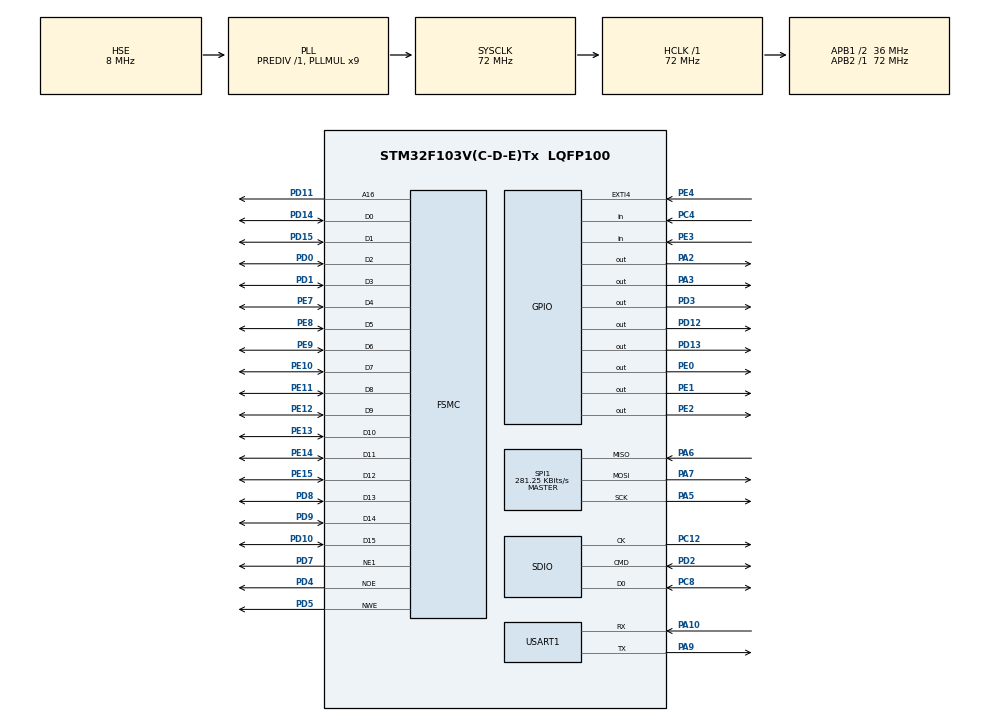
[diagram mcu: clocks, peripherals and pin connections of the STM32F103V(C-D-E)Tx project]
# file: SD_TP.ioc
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FATFS._USE_FIND=1
FATFS._USE_FORWARD=1
Mcu.Family=STM32F1
Mcu.Name=STM32F103V(C-D-E)Tx
Mcu.Package=LQFP100
NVIC.EXTI4_IRQn=true\:0\:0\:false\:false\:true\:true\:true\:true
NVIC.PriorityGroup=NVIC_PRIORITYGROUP_4
OSC_IN.Mode=HSE-External-Oscillator
OSC_IN.Signal=RCC_OSC_IN
OSC_OUT.Mode=HSE-External-Oscillator
OSC_OUT.Signal=RCC_OSC_OUT
PA10.Mode=Asynchronous
PA10.Signal=USART1_RX
PA13.Mode=Serial_Wire
PA13.Signal=SYS_JTMS-SWDIO
PA14.Mode=Serial_Wire
PA14.Signal=SYS_JTCK-SWCLK
PA2.GPIO_Speed=GPIO_SPEED_FREQ_HIGH
PA2.PinState=GPIO_PIN_SET
PA2.Signal=GPIO_Output
PA3.GPIO_Speed=GPIO_SPEED_FREQ_HIGH
PA3.PinState=GPIO_PIN_SET
PA3.Signal=GPIO_Output
PA5.Mode=Full_Duplex_Master
PA5.Signal=SPI1_SCK
PA6.Mode=Full_Duplex_Master
PA6.Signal=SPI1_MISO
PA7.Mode=Full_Duplex_Master
PA7.Signal=SPI1_MOSI
PA9.Mode=Asynchronous
PA9.Signal=USART1_TX
PC12.Mode=SD_1_bit
PC12.Signal=SDIO_CK
PC14-OSC32_IN.Mode=LSE-External-Oscillator
PC14-OSC32_IN.Signal=RCC_OSC32_IN
PC15-OSC32_OUT.Mode=LSE-External-Oscillator
PC15-OSC32_OUT.Signal=RCC_OSC32_OUT
PC4.Signal=GPIO_Input
PC8.Mode=SD_1_bit
PC8.Signal=SDIO_D0
PD0.Mode=16b-d1
PD0.Signal=FSMC_D2
PD1.Mode=16b-d1
PD1.Signal=FSMC_D3
PD10.Mode=16b-d1
PD10.Signal=FSMC_D15
PD11.Mode=A16_1
PD11.Signal=FSMC_A16
PD12.GPIO_Speed=GPIO_SPEED_FREQ_HIGH
PD12.Signal=GPIO_Output
PD13.GPIO_Speed=GPIO_SPEED_FREQ_HIGH
PD13.Signal=GPIO_Output
PD14.Mode=16b-d1
PD14.Signal=FSMC_D0
PD15.Mode=16b-d1
PD15.Signal=FSMC_D1
PD2.Mode=SD_1_bit
PD2.Signal=SDIO_CMD
PD3.GPIO_Speed=GPIO_SPEED_FREQ_HIGH
PD3.PinState=GPIO_PIN_SET
PD3.Signal=GPIO_Output
PD4.Mode=Lcd1
PD4.Signal=FSMC_NOE
PD5.Mode=Lcd1
PD5.Signal=FSMC_NWE
PD7.Mode=NorPsramChipSelect1_1
PD7.Signal=FSMC_NE1
PD8.Mode=16b-d1
PD8.Signal=FSMC_D13
PD9.Mode=16b-d1
PD9.Signal=FSMC_D14
PE0.GPIO_Speed=GPIO_SPEED_FREQ_HIGH
PE0.Signal=GPIO_Output
PE1.GPIO_Speed=GPIO_SPEED_FREQ_HIGH
PE1.Signal=GPIO_Output
PE10.Mode=16b-d1
PE10.Signal=FSMC_D7
PE11.Mode=16b-d1
PE11.Signal=FSMC_D8
PE12.Mode=16b-d1
PE12.Signal=FSMC_D9
PE13.Mode=16b-d1
PE13.Signal=FSMC_D10
PE14.Mode=16b-d1
PE14.Signal=FSMC_D11
PE15.Mode=16b-d1
PE15.Signal=FSMC_D12
PE2.GPIO_Speed=GPIO_SPEED_FREQ_HIGH
PE2.Signal=GPIO_Output
PE3.GPIO_PuPd=GPIO_PULLUP
PE3.Signal=GPIO_Input
PE4.GPIO_ModeDefaultEXTI=GPIO_MODE_IT_FALLING
PE4.GPIO_PuPd=GPIO_PULLUP
PE4.Signal=GPXTI4
PE7.Mode=16b-d1
PE7.Signal=FSMC_D4
PE8.Mode=16b-d1
PE8.Signal=FSMC_D5
PE9.Mode=16b-d1
PE9.Signal=FSMC_D6
ProjectManager.HeapSize=0x200
ProjectManager.StackSize=0x400
ProjectManager.TargetToolchain=STM32CubeIDE
RCC.AHBFreq_Value=72000000
RCC.APB1CLKDivider=RCC_HCLK_DIV2
RCC.APB1Freq_Value=36000000
RCC.APB1TimFreq_Value=72000000
RCC.APB2Freq_Value=72000000
RCC.APB2TimFreq_Value=72000000
RCC.HCLKFreq_Value=72000000
RCC.PLLMUL=RCC_PLL_MUL9
RCC.PLLSourceVirtual=RCC_PLLSOURCE_HSE
RCC.SYSCLKFreq_VALUE=72000000
RCC.SYSCLKSource=RCC_SYSCLKSOURCE_PLLCLK
RCC.USBFreq_Value=72000000
SDIO.ClockDiv=4
SDIO.HardwareFlowControl=SDIO_HARDWARE_FLOW_CONTROL_ENABLE
SPI1.BaudRatePrescaler=SPI_BAUDRATEPRESCALER_256
SPI1.CalculateBaudRate=281.25 KBits/s
SPI1.Direction=SPI_DIRECTION_2LINES
SPI1.Mode=SPI_MODE_MASTER
SPI1.VirtualType=VM_MASTER
USART1.VirtualMode=VM_ASYNC
VP_FATFS_VS_SDIO.Mode=SDIO
board=custom

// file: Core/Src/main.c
/* USER CODE BEGIN Header */
/**
  ******************************************************************************
  * @file           : main.c
  * @brief          : Main program body
  ******************************************************************************
  * @attention
  *
  * Copyright (c) 2026 STMicroelectronics.
  * All rights reserved.
  *
  * This software is licensed under terms that can be found in the LICENSE file
  * in the root directory of this software component.
  * If no LICENSE file comes with this software, it is provided AS-IS.
  *
  ******************************************************************************
  */
/* USER CODE END Header */
#include "main.h"
#include "fatfs.h"

/* USER CODE BEGIN Includes */
#include <stdio.h>
#include <string.h>
#include "lcdtp.h"
#include "xpt2046.h"
#include "app_ui.h"
#include "vs1053.h"
/* USER CODE END Includes */

 SD_HandleTypeDef hsd;

SPI_HandleTypeDef hspi1;

UART_HandleTypeDef huart1;

SRAM_HandleTypeDef hsram1;

void SystemClock_Config(void);
static void MX_GPIO_Init(void);
static void MX_FSMC_Init(void);
static void MX_SDIO_SD_Init(void);
static void MX_USART1_UART_Init(void);
static void MX_SPI1_Init(void);

/* USER CODE BEGIN 0 */
int __io_putchar(int ch)
{
    HAL_UART_Transmit(&huart1, (uint8_t*)&ch, 1, 0xFFFF);
    return ch;
}
/* USER CODE END 0 */

int main(void)
{

  /* MCU Configuration--------------------------------------------------------*/

  /* Reset of all peripherals, Initializes the Flash interface and the Systick. */
  HAL_Init();

  /* Configure the system clock */
  SystemClock_Config();

  /* Initialize all configured peripherals */
  MX_GPIO_Init();
  MX_FSMC_Init();
  MX_SDIO_SD_Init();
  MX_USART1_UART_Init();
  MX_FATFS_Init();
  MX_SPI1_Init();
  /* USER CODE BEGIN 2 */
  macXPT2046_CS_DISABLE();
  LCD_INIT();
  while( ! XPT2046_Touch_Calibrate () );

  FATFS myFATFS;
  if (f_mount(&myFATFS, SDPath, 1) != FR_OK) {
      printf("SD Mount Failed!\n");
  }
  else {
      printf("SD Mount Success!\n");
  }

  VS1053_Init();
  VS1053_SineTest();

  UI_Init();
  /* USER CODE END 2 */

  /* Infinite loop */
  while (1)
  {

    /* USER CODE BEGIN 3 */
	UI_Loop();
  }
  /* USER CODE END 3 */
}

void SystemClock_Config(void)
{
  RCC_OscInitTypeDef RCC_OscInitStruct = {0};
  RCC_ClkInitTypeDef RCC_ClkInitStruct = {0};

  /** Initializes the RCC Oscillators according to the specified parameters
  * in the RCC_OscInitTypeDef structure.
  */
  RCC_OscInitStruct.OscillatorType = RCC_OSCILLATORTYPE_HSE;
  RCC_OscInitStruct.HSEState = RCC_HSE_ON;
  RCC_OscInitStruct.HSEPredivValue = RCC_HSE_PREDIV_DIV1;
  RCC_OscInitStruct.HSIState = RCC_HSI_ON;
  RCC_OscInitStruct.PLL.PLLState = RCC_PLL_ON;
  RCC_OscInitStruct.PLL.PLLSource = RCC_PLLSOURCE_HSE;
  RCC_OscInitStruct.PLL.PLLMUL = RCC_PLL_MUL9;
  if (HAL_RCC_OscConfig(&RCC_OscInitStruct) != HAL_OK)
  {
    Error_Handler();
  }

  /** Initializes the CPU, AHB and APB buses clocks
  */
  RCC_ClkInitStruct.ClockType = RCC_CLOCKTYPE_HCLK|RCC_CLOCKTYPE_SYSCLK
                              |RCC_CLOCKTYPE_PCLK1|RCC_CLOCKTYPE_PCLK2;
  RCC_ClkInitStruct.SYSCLKSource = RCC_SYSCLKSOURCE_PLLCLK;
  RCC_ClkInitStruct.AHBCLKDivider = RCC_SYSCLK_DIV1;
  RCC_ClkInitStruct.APB1CLKDivider = RCC_HCLK_DIV2;
  RCC_ClkInitStruct.APB2CLKDivider = RCC_HCLK_DIV1;

  if (HAL_RCC_ClockConfig(&RCC_ClkInitStruct, FLASH_LATENCY_2) != HAL_OK)
  {
    Error_Handler();
  }
}

static void MX_SDIO_SD_Init(void)
{

  hsd.Instance = SDIO;
  hsd.Init.ClockEdge = SDIO_CLOCK_EDGE_RISING;
  hsd.Init.ClockBypass = SDIO_CLOCK_BYPASS_DISABLE;
  hsd.Init.ClockPowerSave = SDIO_CLOCK_POWER_SAVE_DISABLE;
  hsd.Init.BusWide = SDIO_BUS_WIDE_1B;
  hsd.Init.HardwareFlowControl = SDIO_HARDWARE_FLOW_CONTROL_ENABLE;
  hsd.Init.ClockDiv = 4;

}

static void MX_SPI1_Init(void)
{

  /* SPI1 parameter configuration*/
  hspi1.Instance = SPI1;
  hspi1.Init.Mode = SPI_MODE_MASTER;
  hspi1.Init.Direction = SPI_DIRECTION_2LINES;
  hspi1.Init.DataSize = SPI_DATASIZE_8BIT;
  hspi1.Init.CLKPolarity = SPI_POLARITY_LOW;
  hspi1.Init.CLKPhase = SPI_PHASE_1EDGE;
  hspi1.Init.NSS = SPI_NSS_SOFT;
  hspi1.Init.BaudRatePrescaler = SPI_BAUDRATEPRESCALER_128;
  hspi1.Init.FirstBit = SPI_FIRSTBIT_MSB;
  hspi1.Init.TIMode = SPI_TIMODE_DISABLE;
  hspi1.Init.CRCCalculation = SPI_CRCCALCULATION_DISABLE;
  hspi1.Init.CRCPolynomial = 10;
  if (HAL_SPI_Init(&hspi1) != HAL_OK)
  {
    Error_Handler();
  }

}

static void MX_USART1_UART_Init(void)
{

  huart1.Instance = USART1;
  huart1.Init.BaudRate = 115200;
  huart1.Init.WordLength = UART_WORDLENGTH_8B;
  huart1.Init.StopBits = UART_STOPBITS_1;
  huart1.Init.Parity = UART_PARITY_NONE;
  huart1.Init.Mode = UART_MODE_TX_RX;
  huart1.Init.HwFlowCtl = UART_HWCONTROL_NONE;
  huart1.Init.OverSampling = UART_OVERSAMPLING_16;
  if (HAL_UART_Init(&huart1) != HAL_OK)
  {
    Error_Handler();
  }

}

static void MX_GPIO_Init(void)
{
  GPIO_InitTypeDef GPIO_InitStruct = {0};

  /* GPIO Ports Clock Enable */
  __HAL_RCC_GPIOE_CLK_ENABLE();
  __HAL_RCC_GPIOC_CLK_ENABLE();
  __HAL_RCC_GPIOA_CLK_ENABLE();
  __HAL_RCC_GPIOD_CLK_ENABLE();

  /*Configure GPIO pin Output Level */
  HAL_GPIO_WritePin(GPIOE, GPIO_PIN_2|GPIO_PIN_0|GPIO_PIN_1, GPIO_PIN_RESET);

  /*Configure GPIO pin Output Level */
  HAL_GPIO_WritePin(GPIOA, GPIO_PIN_2|GPIO_PIN_3, GPIO_PIN_SET);

  /*Configure GPIO pin Output Level */
  HAL_GPIO_WritePin(GPIOD, GPIO_PIN_12|GPIO_PIN_13, GPIO_PIN_RESET);

  /*Configure GPIO pin Output Level */
  HAL_GPIO_WritePin(GPIOD, GPIO_PIN_3, GPIO_PIN_SET);

  /*Configure GPIO pins : PE2 PE0 PE1 */
  GPIO_InitStruct.Pin = GPIO_PIN_2|GPIO_PIN_0|GPIO_PIN_1;
  GPIO_InitStruct.Mode = GPIO_MODE_OUTPUT_PP;
  GPIO_InitStruct.Pull = GPIO_NOPULL;
  GPIO_InitStruct.Speed = GPIO_SPEED_FREQ_HIGH;
  HAL_GPIO_Init(GPIOE, &GPIO_InitStruct);

  /*Configure GPIO pin : PE3 */
  GPIO_InitStruct.Pin = GPIO_PIN_3;
  GPIO_InitStruct.Mode = GPIO_MODE_INPUT;
  GPIO_InitStruct.Pull = GPIO_PULLUP;
  HAL_GPIO_Init(GPIOE, &GPIO_InitStruct);

  /*Configure GPIO pin : PE4 */
  GPIO_InitStruct.Pin = GPIO_PIN_4;
  GPIO_InitStruct.Mode = GPIO_MODE_IT_FALLING;
  GPIO_InitStruct.Pull = GPIO_PULLUP;
  HAL_GPIO_Init(GPIOE, &GPIO_InitStruct);

  /*Configure GPIO pins : PA2 PA3 */
  GPIO_InitStruct.Pin = GPIO_PIN_2|GPIO_PIN_3;
  GPIO_InitStruct.Mode = GPIO_MODE_OUTPUT_PP;
  GPIO_InitStruct.Pull = GPIO_NOPULL;
  GPIO_InitStruct.Speed = GPIO_SPEED_FREQ_HIGH;
  HAL_GPIO_Init(GPIOA, &GPIO_InitStruct);

  /*Configure GPIO pin : PC4 */
  GPIO_InitStruct.Pin = GPIO_PIN_4;
  GPIO_InitStruct.Mode = GPIO_MODE_INPUT;
  GPIO_InitStruct.Pull = GPIO_NOPULL;
  HAL_GPIO_Init(GPIOC, &GPIO_InitStruct);

  /*Configure GPIO pins : PD12 PD13 PD3 */
  GPIO_InitStruct.Pin = GPIO_PIN_12|GPIO_PIN_13|GPIO_PIN_3;
  GPIO_InitStruct.Mode = GPIO_MODE_OUTPUT_PP;
  GPIO_InitStruct.Pull = GPIO_NOPULL;
  GPIO_InitStruct.Speed = GPIO_SPEED_FREQ_HIGH;
  HAL_GPIO_Init(GPIOD, &GPIO_InitStruct);

  /* EXTI interrupt init*/
  HAL_NVIC_SetPriority(EXTI4_IRQn, 0, 0);
  HAL_NVIC_EnableIRQ(EXTI4_IRQn);

}

/* FSMC initialization function */
static void MX_FSMC_Init(void)
{

  FSMC_NORSRAM_TimingTypeDef Timing = {0};

  /** Perform the SRAM1 memory initialization sequence
  */
  hsram1.Instance = FSMC_NORSRAM_DEVICE;
  hsram1.Extended = FSMC_NORSRAM_EXTENDED_DEVICE;
  /* hsram1.Init */
  hsram1.Init.NSBank = FSMC_NORSRAM_BANK1;
  hsram1.Init.DataAddressMux = FSMC_DATA_ADDRESS_MUX_DISABLE;
  hsram1.Init.MemoryType = FSMC_MEMORY_TYPE_SRAM;
  hsram1.Init.MemoryDataWidth = FSMC_NORSRAM_MEM_BUS_WIDTH_16;
  hsram1.Init.BurstAccessMode = FSMC_BURST_ACCESS_MODE_DISABLE;
  hsram1.Init.WaitSignalPolarity = FSMC_WAIT_SIGNAL_POLARITY_LOW;
  hsram1.Init.WrapMode = FSMC_WRAP_MODE_DISABLE;
  hsram1.Init.WaitSignalActive = FSMC_WAIT_TIMING_BEFORE_WS;
  hsram1.Init.WriteOperation = FSMC_WRITE_OPERATION_ENABLE;
  hsram1.Init.WaitSignal = FSMC_WAIT_SIGNAL_DISABLE;
  hsram1.Init.ExtendedMode = FSMC_EXTENDED_MODE_DISABLE;
  hsram1.Init.AsynchronousWait = FSMC_ASYNCHRONOUS_WAIT_DISABLE;
  hsram1.Init.WriteBurst = FSMC_WRITE_BURST_DISABLE;
  /* Timing */
  Timing.AddressSetupTime = 15;
  Timing.AddressHoldTime = 15;
  Timing.DataSetupTime = 255;
  Timing.BusTurnAroundDuration = 15;
  Timing.CLKDivision = 16;
  Timing.DataLatency = 17;
  Timing.AccessMode = FSMC_ACCESS_MODE_A;
  /* ExtTiming */

  if (HAL_SRAM_Init(&hsram1, &Timing, NULL) != HAL_OK)
  {
    Error_Handler( );
  }

  /** Disconnect NADV
  */

  __HAL_AFIO_FSMCNADV_DISCONNECTED();

}

/* USER CODE BEGIN 4 */
void HAL_GPIO_EXTI_Callback(uint16_t GPIO_Pin)
{
    if (GPIO_Pin == GPIO_PIN_4)
    {
        ucXPT2046_TouchFlag = 1;
    }
}
/* USER CODE END 4 */

void Error_Handler(void)
{
  __disable_irq();
  while (1)
  {
  }
}
